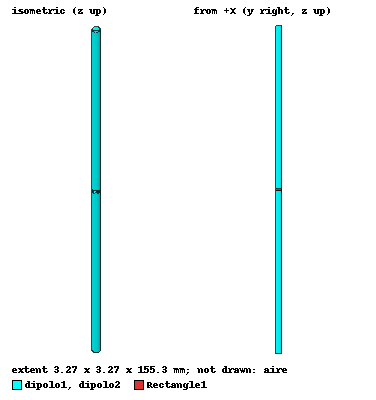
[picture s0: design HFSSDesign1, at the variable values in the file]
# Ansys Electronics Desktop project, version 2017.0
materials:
  vacuum: permittivity=1
  pec: conductivity=1e+030
  air: permittivity=1.0006 permeability=1.0000004

design HFSSDesign1 (HFSS, DrivenModal, model units mm)
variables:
  gap_fuente = 1mm
  array = [327] mm
  radio_dipolo = array[0]/200
  radio_aire = radio_dipolo+(array[0]/4)
  longitud_res = 0.475*array[0]
  longitud_dipolo = longitud_res/2-(gap_fuente/2)
  alto_aire = gap_fuente/2+longitud_dipolo+array[0]/10
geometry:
  dipolo1 [pec] = cylinder(axis=Z, base_centre=(0mm, 0mm, gap_fuente/2), radius=radio_dipolo, height=longitud_dipolo)
  dipolo2 [pec] = cylinder(axis=Z, base_centre=(0mm, 0mm, -(gap_fuente/2)), radius=radio_dipolo, height=-longitud_dipolo)
  aire [air] = cylinder(axis=Z, base_centre=(0mm, 0mm, -alto_aire/2), radius=radio_aire, height=alto_aire)
  Rectangle1 = rectangle(corner=(0mm, -radio_dipolo, -gap_fuente/2), y_size=radio_dipolo*2, z_size=gap_fuente)
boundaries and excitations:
  Rad1: Radiation Objects=aire
  1: Lumped Port Objects=Rectangle1 Modes{Mode1{IntLine{middle of Rectangle1.edge(z at corner) -> middle of Rectangle1.edge(z opposite corner)} CharImp=Zpi RenormImp=50ohm}} Impedance=50ohm
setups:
  Setup1: HfssDriven Frequency=2GHz MaxDeltaS=0.02 MaximumPasses=20 MinimumPasses=1 MinimumConvergedPasses=1 PercentRefinement=30 BasisOrder=1 PortAccuracy=2 RayDensityPerWavelength=4 MaxNumberOfBounces=5
    sweep Sweep: 500MHz to 1500MHz step 10MHz; Type=Fast SaveFields
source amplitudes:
  1:1: 1W 0deg
